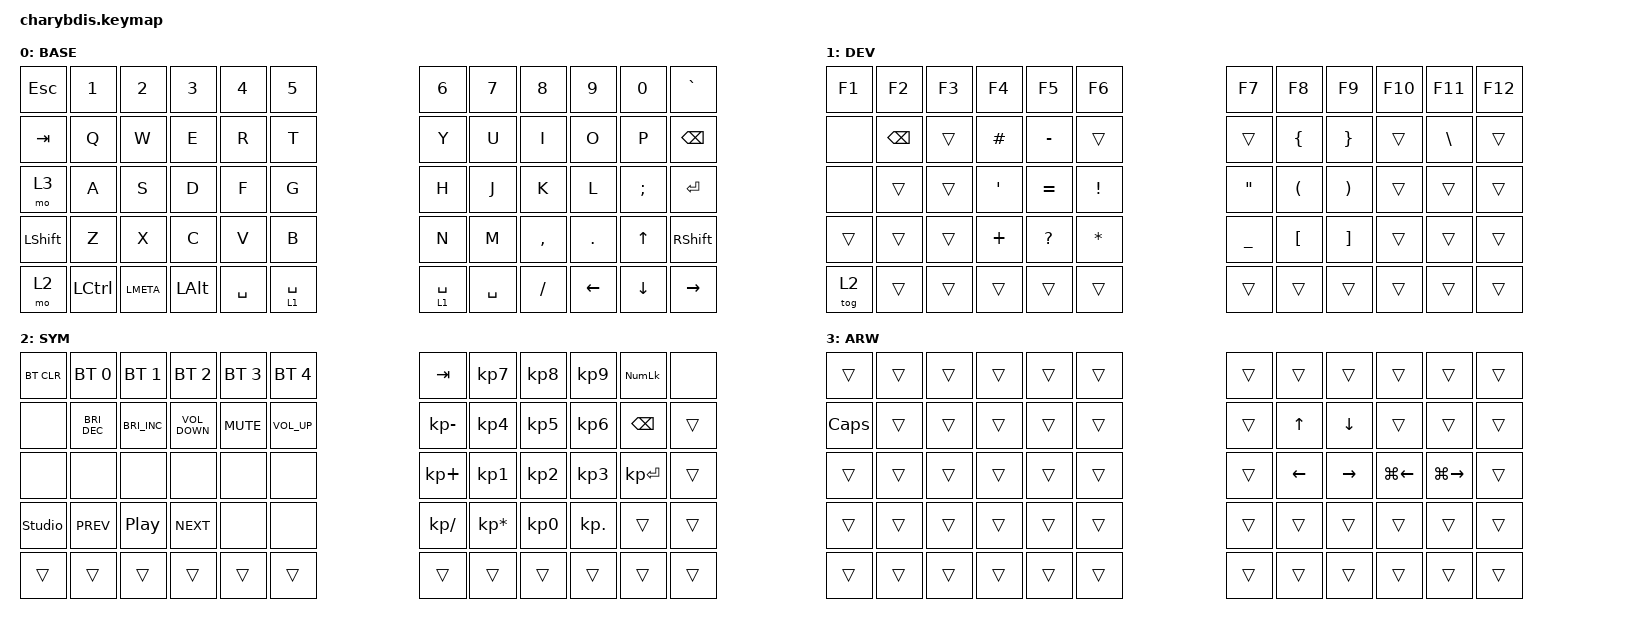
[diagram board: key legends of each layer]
#include <behaviors.dtsi>
#include <dt-bindings/zmk/bt.h>
#include <dt-bindings/zmk/keys.h>
#include <dt-bindings/zmk/outputs.h>

/ {
keymap {
compatible = "zmk,keymap";
BASE {
    bindings = <
        &kp ESCAPE  &kp N1     &kp N2     &kp N3     &kp N4     &kp N5          &kp N6       &kp N7     &kp N8     &kp N9          &kp N0        &kp GRAVE
        &kp TAB     &kp Q      &kp W      &kp E      &kp R      &kp T           &kp Y        &kp U      &kp I      &kp O           &kp P         &kp BACKSPACE
        &mo 3       &kp A      &kp S      &kp D      &kp F      &kp G           &kp H        &kp J      &kp K      &kp L           &kp SEMI      &kp ENTER
        &kp LSHFT   &kp Z      &kp X      &kp C      &kp V      &kp B           &kp N        &kp M      &kp COMMA  &kp DOT         &kp UP_ARROW  &kp RSHFT
        &mo 2       &kp LCTRL  &kp LMETA  &kp LALT   &kp SPACE  &lt 1 SPACE     &lt 1 SPACE  &kp SPACE  &kp SLASH  &kp LEFT_ARROW  &kp DOWN      &kp RIGHT
    >;
};

DEV {
    bindings = <
        &kp F1  &kp F2         &kp F3  &kp F4            &kp F5        &kp F6      &kp F7             &kp F8                &kp F9                 &kp F10  &kp F11        &kp F12
        &none   &kp BACKSPACE  &trans  &kp HASH          &kp MINUS     &trans      &trans             &kp LEFT_BRACE        &kp RIGHT_BRACE        &trans   &kp BACKSLASH  &trans
        &none   &trans         &trans  &kp SINGLE_QUOTE  &kp EQUAL     &kp EXCL    &kp DOUBLE_QUOTES  &kp LEFT_PARENTHESIS  &kp RIGHT_PARENTHESIS  &trans   &trans         &trans
        &trans  &trans         &trans  &kp PLUS          &kp QUESTION  &kp STAR    &kp UNDERSCORE     &kp LEFT_BRACKET      &kp RIGHT_BRACKET      &trans   &trans         &trans
        &tog 2  &trans         &trans  &trans            &trans        &trans      &trans             &trans                &trans                 &trans   &trans         &trans
    >;
};

SYM {
    bindings = <
        &bt BT_CLR      &bt BT_SEL 0          &bt BT_SEL 1          &bt BT_SEL 2       &bt BT_SEL 3  &bt BT_SEL 4       &kp TAB          &kp KP_N7        &kp KP_N8  &kp KP_N9   &kp KP_NUMLOCK  &none
        &none           &kp C_BRIGHTNESS_DEC  &kp C_BRIGHTNESS_INC  &kp C_VOLUME_DOWN  &kp C_MUTE    &kp C_VOLUME_UP    &kp KP_SUBTRACT  &kp KP_N4        &kp KP_N5  &kp KP_N6   &kp BACKSPACE   &trans
        &none           &none                 &none                 &none              &none         &none              &kp KP_PLUS      &kp KP_N1        &kp KP_N2  &kp KP_N3   &kp KP_ENTER    &trans
        &studio_unlock  &kp C_PREV            &kp C_PLAY_PAUSE      &kp C_NEXT         &none         &none              &kp KP_DIVIDE    &kp KP_MULTIPLY  &kp KP_N0  &kp KP_DOT  &trans          &trans
        &trans          &trans                &trans                &trans             &trans        &trans             &trans           &trans           &trans     &trans      &trans          &trans
    >;
};

ARW {
    bindings = <
        &trans        &trans     &trans         &trans     &trans     &trans    &trans  &trans          &trans          &trans              &trans         &trans
        &kp CAPSLOCK  &trans     &trans         &trans     &trans     &trans    &trans  &kp UP_ARROW    &kp DOWN        &trans              &trans         &trans
        &trans        &trans     &trans         &trans     &trans     &trans    &trans  &kp LEFT        &kp RIGHT       &kp LG(LEFT_ARROW)  &kp LG(RIGHT)  &trans
        &trans        &trans     &trans         &trans     &trans     &trans    &trans  &trans          &trans          &trans              &trans         &trans
        &trans        &trans     &trans         &trans     &trans     &trans    &trans  &trans          &trans          &trans              &trans         &trans
    >;
};

}; // End of keymap

}; // End of file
